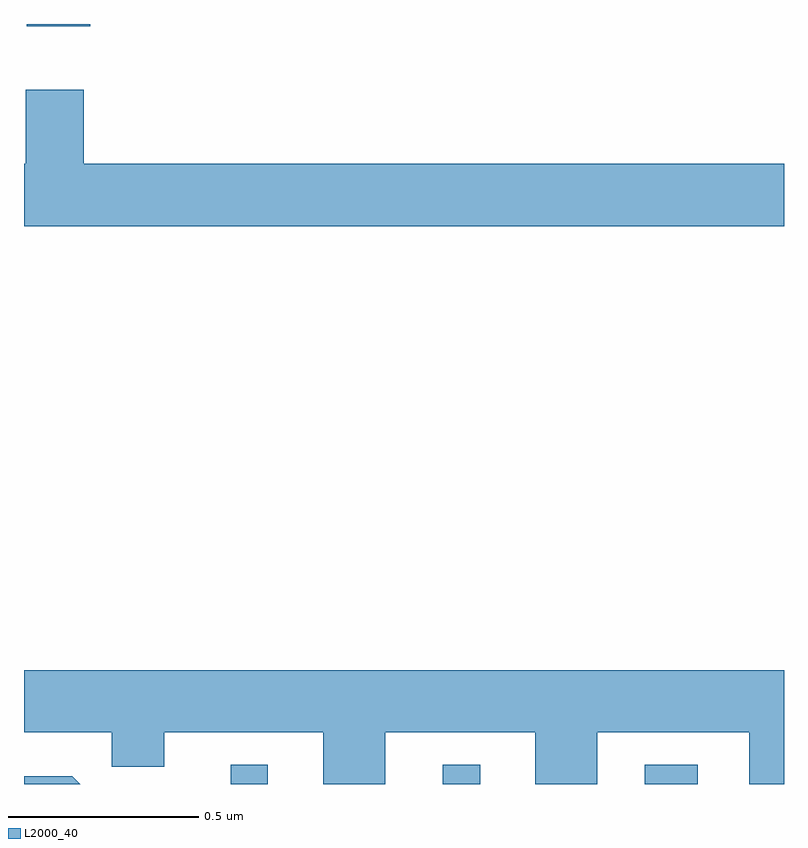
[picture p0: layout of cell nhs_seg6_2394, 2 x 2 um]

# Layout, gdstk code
import gdstk
lib = gdstk.Library(unit=1e-6, precision=1e-09)
def R(c, l, rs):  # rectangles x0, y0, x1, y1
    for r in rs: c.add(gdstk.rectangle(r[:2], r[2:], *l))
def P(c, l, *ps):  # polygons
    for p in ps: c.add(gdstk.Polygon(p, *l))
L2000_40 = (2000, 40)

nhs_seg6_2394 = lib.new_cell('nhs_seg6_2394')
R(nhs_seg6_2394, L2000_40, [(142.544,980.5,142.642,980.551), (143.102,980.5,143.2,980.551), (143.633,980.5,143.773,980.551), (142.007,982.494,142.174,982.5)])
P(nhs_seg6_2394, L2000_40, [(144,982.132),(142.157,982.132),(142.157,982.327),(142.004,982.327),(142.004,982.132),(142,982.132),(142,981.968),(144,981.968)],
  [(142.951,980.636),(143.345,980.636),(143.345,980.5),(143.509,980.5),(143.509,980.636),(143.909,980.636),(143.909,980.5),(144,980.5),(144,980.8),(142,980.8),(142,980.636),(142.231,980.636),(142.231,980.546),(142.369,980.546),(142.369,980.636),(142.787,980.636),(142.787,980.5),(142.951,980.5)],
  [(142.127,980.521),(142,980.521),(142,980.5),(142.148,980.5)])

lib.write_gds('nhs_seg6_2394.gds')
